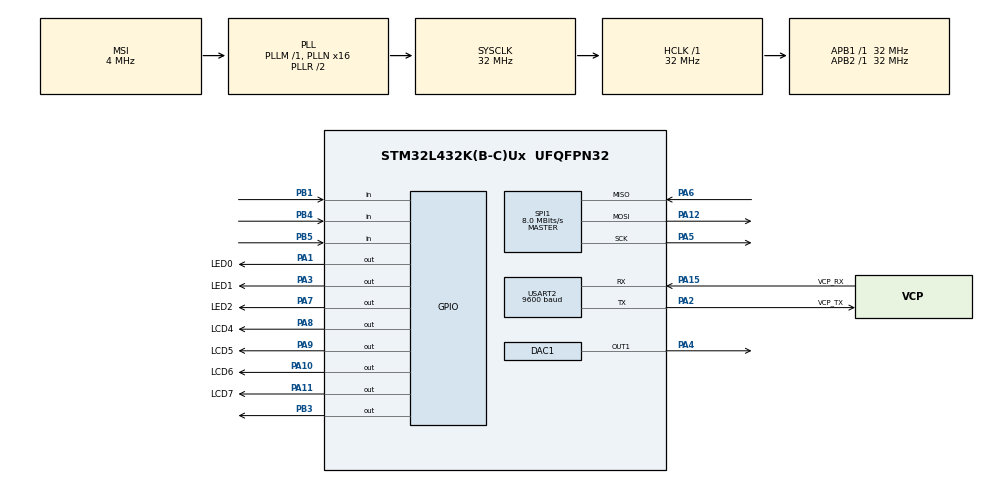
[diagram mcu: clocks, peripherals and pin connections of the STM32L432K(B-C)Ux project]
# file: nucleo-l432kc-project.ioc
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DAC1.DAC_Trigger-DAC_OUT1=DAC_TRIGGER_NONE
FATFS._MAX_SS=4096
FATFS._USE_LFN=1
Mcu.Family=STM32L4
Mcu.Name=STM32L432K(B-C)Ux
Mcu.Package=UFQFPN32
NVIC.PriorityGroup=NVIC_PRIORITYGROUP_4
NVIC.TIM1_BRK_TIM15_IRQn=true\:0\:0\:false\:false\:true\:true\:true
NVIC.TIM1_CC_IRQn=true\:0\:0\:false\:false\:true\:true\:true
NVIC.TIM1_TRG_COM_IRQn=true\:0\:0\:false\:false\:true\:true\:true
NVIC.TIM1_UP_TIM16_IRQn=true\:0\:0\:false\:false\:true\:true\:true
PA0.GPIO_Label=MCO [High speed clock in]
PA0.Mode=HSE-External-Clock-Source-for-LittleOrca
PA0.Signal=RCC_CK_IN
PA1.GPIO_Label=LED0
PA1.Signal=GPIO_Output
PA10.GPIO_Label=LCD6
PA10.Signal=GPIO_Output
PA11.GPIO_Label=LCD7
PA11.Signal=GPIO_Output
PA12.Mode=Full_Duplex_Master
PA12.Signal=SPI1_MOSI
PA13\ (JTMS-SWDIO).GPIO_Label=SWDIO
PA13\ (JTMS-SWDIO).Mode=Serial_Wire
PA13\ (JTMS-SWDIO).Signal=SYS_JTMS-SWDIO
PA14\ (JTCK-SWCLK).GPIO_Label=SWCLK
PA14\ (JTCK-SWCLK).Mode=Serial_Wire
PA14\ (JTCK-SWCLK).Signal=SYS_JTCK-SWCLK
PA15\ (JTDI).GPIO_Label=VCP_RX
PA15\ (JTDI).Mode=Asynchronous
PA15\ (JTDI).Signal=USART2_RX
PA2.GPIO_Label=VCP_TX
PA2.Mode=Asynchronous
PA2.Signal=USART2_TX
PA3.GPIO_Label=LED1
PA3.Signal=GPIO_Output
PA4.Signal=COMP_DAC11_group
PA5.Mode=Full_Duplex_Master
PA5.Signal=SPI1_SCK
PA6.Mode=Full_Duplex_Master
PA6.Signal=SPI1_MISO
PA7.GPIO_Label=LED2
PA7.Signal=GPIO_Output
PA8.GPIO_Label=LCD4
PA8.Signal=GPIO_Output
PA9.GPIO_Label=LCD5
PA9.Signal=GPIO_Output
PB1.GPIO_PuPd=GPIO_NOPULL
PB1.Signal=GPIO_Input
PB3\ (JTDO-TRACESWO).GPIO_Speed=GPIO_SPEED_FREQ_MEDIUM
PB3\ (JTDO-TRACESWO).PinState=GPIO_PIN_SET
PB3\ (JTDO-TRACESWO).Signal=GPIO_Output
PB4\ (NJTRST).GPIO_PuPd=GPIO_NOPULL
PB4\ (NJTRST).Signal=GPIO_Input
PB5.GPIO_PuPd=GPIO_NOPULL
PB5.Signal=GPIO_Input
PC14-OSC32_IN\ (PC14).Mode=LSE-External-Oscillator
PC14-OSC32_IN\ (PC14).Signal=RCC_OSC32_IN
PC15-OSC32_OUT\ (PC15).Mode=LSE-External-Oscillator
PC15-OSC32_OUT\ (PC15).Signal=RCC_OSC32_OUT
ProjectManager.HeapSize=0x200
ProjectManager.StackSize=0x400
ProjectManager.TargetToolchain=STM32CubeIDE
RCC.ADCFreq_Value=16000000
RCC.AHBFreq_Value=32000000
RCC.APB1Freq_Value=32000000
RCC.APB1TimFreq_Value=32000000
RCC.APB2Freq_Value=32000000
RCC.APB2TimFreq_Value=32000000
RCC.CortexFreq_Value=32000000
RCC.HCLKFreq_Value=32000000
RCC.HSE_VALUE=8000000
RCC.HSI16_VALUE=16000000
RCC.HSI48_VALUE=48000000
RCC.HSI_VALUE=16000000
RCC.MSI_VALUE=4000000
RCC.PLLMUL=RCC_PLLMUL_4
RCC.PLLN=16
RCC.SYSCLKFreq_VALUE=32000000
RCC.SYSCLKSource=RCC_SYSCLKSOURCE_PLLCLK
RCC.USBFreq_Value=16000000
RCC.VCOOutputFreq_Value=64000000
SH.COMP_DAC11_group.0=DAC1_OUT1,DAC_OUT1
SPI1.BaudRatePrescaler=SPI_BAUDRATEPRESCALER_4
SPI1.CalculateBaudRate=8.0 MBits/s
SPI1.DataSize=SPI_DATASIZE_8BIT
SPI1.Direction=SPI_DIRECTION_2LINES
SPI1.Mode=SPI_MODE_MASTER
SPI1.VirtualType=VM_MASTER
TIM1.Period=4999
TIM1.Prescaler=31999
TIM16.Prescaler=31
TIM2.Period=65535
TIM2.TIM_MasterOutputTrigger=TIM_TRGO_UPDATE
USART2.BaudRate=9600
USART2.VirtualMode-Asynchronous=VM_ASYNC
VP_FATFS_VS_Generic.Mode=User_defined
VP_TIM16_VS_ClockSourceINT.Mode=Enable_Timer
VP_TIM1_VS_ClockSourceINT.Mode=Internal
VP_TIM2_VS_ClockSourceINT.Mode=Internal
board=NUCLEO-L432KC

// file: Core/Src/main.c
/* USER CODE BEGIN Header */
/**
  ******************************************************************************
  * @file           : main.c
  * @brief          : Main program body
  ******************************************************************************
  * @attention
  *
  * Copyright (c) 2022 STMicroelectronics.
  * All rights reserved.
  *
  * This software is licensed under terms that can be found in the LICENSE file
  * in the root directory of this software component.
  * If no LICENSE file comes with this software, it is provided AS-IS.
  *
  ******************************************************************************
  */
/* USER CODE END Header */
#include "main.h"
#include "fatfs.h"

/* USER CODE BEGIN Includes */
#include <stdio.h>
#include <stdlib.h>
#include <string.h>

#include "BTT.h"
#include "fatfs_sd.h"
#include "waveheader.h"
#include "lcd.h"
/* USER CODE END Includes */

/* USER CODE BEGIN PTD */
typedef void (*funcP)(uint8_t channels, uint16_t numSamples, void *pIn, uint16_t *pOutput);
/* USER CODE END PTD */

/* USER CODE BEGIN PD */
#define BUFSIZE 512
#define AUDIO_BUFFER_SIZE 512
#define MIN(a,b) (((a)<(b))? (a):(b))
/* USER CODE END PD */

DAC_HandleTypeDef hdac1;

SPI_HandleTypeDef hspi1;

TIM_HandleTypeDef htim1;
TIM_HandleTypeDef htim2;
TIM_HandleTypeDef htim16;

UART_HandleTypeDef huart2;

/* USER CODE BEGIN PV */
FATFS fs;
FATFS *pfs;
FIL fil;
FRESULT fres;
DWORD fre_clust;
uint32_t totalSpace, freeSpace;
char buffer[100];
char fileNames [20][20] = {0};
int allFilesCount = 0;

static uint8_t fileBuffer[BUFSIZE];
static uint8_t dmaBuffer[2][BUFSIZE];
static uint8_t dmaBank = 0;

/* USER CODE END PV */

void SystemClock_Config(void);
static void MX_GPIO_Init(void);
static void MX_USART2_UART_Init(void);
static void MX_TIM16_Init(void);
static void MX_TIM1_Init(void);
static void MX_SPI1_Init(void);
static void MX_DAC1_Init(void);
static void MX_TIM2_Init(void);
/* USER CODE BEGIN PFP */
void training ();
void beat_detected_callback (void* SELF, unsigned long long sample_time);
void transmit_uart (char * msg){
	uint8_t len = strlen(msg);
	HAL_UART_Transmit (&huart2, (uint8_t*) msg, len, 200);
}
void listDirectory (){

	DIR dir;
    char *path;
    UINT BytesWritten;
    char string[20];
    FRESULT res;

    path = ""; // where you want to list

    res = f_opendir(&dir, path);

//    if (res != FR_OK)
//      printf("res = %d f_opendir\n", res);

    if (res == FR_OK)
    {
      while(1)
      {
        FILINFO fno;

        res = f_readdir(&dir, &fno);

//        if (res != FR_OK)
//          printf("res = %d f_readdir\n", res);

        if ((res != FR_OK) || (fno.fname[0] == 0))
          break;

        int size = strlen(fno.fname);
        sprintf(string, "%s\r\n", fno.fname);
                	transmit_uart(string);
        if (fno.fname[size-3] == 'w' && fno.fname[size-2] == 'a' && fno.fname[size-1] == 'v' && fno.fname[0] != '.'){
//        	sprintf(string, "%s\r\n", fno.fname);
//        	transmit_uart(string);
        	if (allFilesCount<20){
				strcpy(fileNames[allFilesCount],string);
				allFilesCount++;
        	}
        }
      }
    }
}
static void
setSampleRate(uint16_t freq)
{
  uint16_t period = (80000000 / freq) - 1;

  htim2.Instance = TIM2;
  htim2.Init.Prescaler = 0;
  htim2.Init.CounterMode = TIM_COUNTERMODE_UP;
  htim2.Init.Period = period;
  htim2.Init.ClockDivision = TIM_CLOCKDIVISION_DIV1;
  htim2.Init.AutoReloadPreload = TIM_AUTORELOAD_PRELOAD_DISABLE;
  HAL_TIM_Base_Init(&htim2);
}

static inline uint16_t
val2Dac8(int32_t v)
{
  uint16_t out = v << 3;
  return out;
}

static inline uint16_t
val2Dac16(int32_t v)
{
  v >>= 4;
  v += 2047;
  return v & 0xfff;
}

static void
prepareDACBuffer_8Bit(uint8_t channels, uint16_t numSamples, void *pIn, uint16_t *pOutput)
{
  uint8_t *pInput = (uint8_t *)pIn;

  for (int i=0; i<numSamples; i++) {
    int32_t val = 0;

    for(int j=0; j<channels; j++) {
      val += *pInput++;
    }
    val /= channels;
    *pOutput++ = val2Dac8(val);
  }
}

static void
prepareDACBuffer_16Bit(uint8_t channels, uint16_t numSamples, void *pIn, uint16_t *pOutput)
{
  int16_t *pInput = (int16_t *)pIn;

  for (int i=0; i<numSamples; i++) {
    int32_t val = 0;

    for(int j=0; j<channels; j++) {
      val += *pInput++;
    }
    val /= channels;
    *pOutput++ = val2Dac16(val);
  }
}

static uint8_t
isSupprtedWavFile(const struct Wav_Header *header)
{
  if (strncmp(header->riff, "RIFF", 4 ) != 0)
    return 0;

  if (header->vfmt != 1)
    return 0;

  if (strncmp(header->dataChunkHeader, "data", 4 ) != 0)
    return 0;

  return 1;
}
/* USER CODE END PFP */

/* USER CODE BEGIN 0 */
volatile uint16_t timer_end;
uint16_t timer_val;
uint16_t time_diff;
uint16_t time_diff_arr[50];
int rand_num;
int flag;
int state = 1;
int detected = 0;
int counter = 0;
char buff [100] = {0};
/* USER CODE END 0 */

int main(void)
{

  /* MCU Configuration--------------------------------------------------------*/

  /* Reset of all peripherals, Initializes the Flash interface and the Systick. */
  HAL_Init();

  /* Configure the system clock */
  SystemClock_Config();

  /* Initialize all configured peripherals */
  MX_GPIO_Init();
  MX_USART2_UART_Init();
  MX_TIM16_Init();
  MX_TIM1_Init();
  MX_SPI1_Init();
  MX_DAC1_Init();
  MX_FATFS_Init();
  MX_TIM2_Init();
  /* USER CODE BEGIN 2 */

  // SETUP LCD
//   // Lcd_PortType ports[] = { D4_GPIO_Port, D5_GPIO_Port, D6_GPIO_Port, D7_GPIO_Port };
//   Lcd_PortType ports[] = { GPIOA, GPIOA, GPIOA, GPIOA };
//   // Lcd_PinType pins[] = {D4_Pin, D5_Pin, D6_Pin, D7_Pin};
//   Lcd_PinType pins[] = {LCD4_Pin, LCD5_Pin, LCD6_Pin, LCD7_Pin};
//   Lcd_HandleTypeDef lcd;
//
//   // Lcd_create(ports, pins, RS_GPIO_Port, RS_Pin, EN_GPIO_Port, EN_Pin, LCD_4_BIT_MODE);
//   lcd = Lcd_create(ports, pins, LCDRS_GPIO_Port, LCDRS_Pin, LCDE_GPIO_Port, LCDE_Pin, LCD_4_BIT_MODE);
//   Lcd_cursor(&lcd, 0,1);
//   Lcd_string(&lcd, "Welcome");

  HAL_Delay(500);

  fres = f_mount(&fs, "", 1);
   if (fres == FR_OK){
	   transmit_uart("Micro SD card is mounted successfully!\r\n");
   } else if (fres != FR_OK){
	   transmit_uart("Error Micro SD card mount\r\n");
   }

   listDirectory();

   transmit_uart(fileNames[0]);
//   transmit_uart(fileNames[1]);
//   transmit_uart(fileNames[2]);
//   f_opendir(dp, "/")
//f_readdir(dp, fno)
// https://community.st.com/s/question/0D53W00000wzjSmSAI/fatfs-show-all-files
//f_opendir(dp, path)
//f_open(fp, path, mode)

     // WAV Player
     HAL_TIM_Base_Start(&htim2);

  HAL_TIM_Base_Start(&htim16);
  /* USER CODE END 2 */

  /* Infinite loop */
  /* USER CODE BEGIN WHILE */
  int sum = 0;
  int average = 0;
  int once = 1;
  int count = 0;

//   Lcd_cursor(&lcd, 1,1);
//   Lcd_string(&lcd, "Let's Begin");
//
//   HAL_Delay(2000);
//
//   Lcd_cursor(&lcd, 0,1);
//   Lcd_string(&lcd, "Song name here");
//
//   Lcd_cursor(&lcd, 1,0);
//   Lcd_string(&lcd, "Btn2: play / Btn1: next");

  HAL_Delay(5000);
  uint16_t end_time, start_time = __HAL_TIM_GET_COUNTER(&htim16);

  //till now, you have all file names on mounted sd card stored in fileNames and their count in allFilesCount
  //	  /*
  //	   * TASK1 1. Read from music file
  //	   * TASK1 2. Start beat analysis (callback releases binary semaph for training)
  //	   * TASK1 3. Play music file
  //	   * TASK1 4. Training (light LED and check button pressed and calculate metrics accordingly)
  //	   */
  while (1)
  {
	  //make user choose a file from the list of files on sd card
	   int counterFiles = 0;
//	   while(1){
//
//		   // Show on LCD the file -> fileNames[counterFiles]
////		   Lcd_cursor(&lcd, 0,0);
////		   Lcd_int(&lcd, counterFiles);
////
////		   Lcd_cursor(&lcd, 0,2);
////		   Lcd_string(&lcd, fileNames[counterFiles]);
//
//		   if(HAL_GPIO_ReadPin(GPIOB, GPIO_PIN_4) == 1){
//			   break; //valid choice of song (read it and process it) -> counterFiles has the song index
//			}
//			else if (HAL_GPIO_ReadPin(GPIOB, GPIO_PIN_1) == 1){
//				counterFiles++;
//			}
//		   counterFiles = counterFiles%allFilesCount;
//	   }

	   //open file and read header
	   fres = f_open(&fil, fileNames[counterFiles], FA_READ);
	   if (fres == FR_OK){
		   transmit_uart("File opened\r\n");
	   } else if (fres != FR_OK){
		   break;
	   }

	   //pre-process the file and load beats using BTT
	   int* beats ;
	   beats = (int *)calloc (300 , sizeof(int) );

	   size_t bytesRead = 0;
	   dft_sample_t* bufferf = calloc(AUDIO_BUFFER_SIZE/8, sizeof(*bufferf));
	   char buffb [512] = {0};

	   BTT* btt = btt_new_default();
	   btt_set_beat_tracking_callback   (btt, beat_detected_callback , NULL);

	   char debug [100] = {0};
	   // read up to sizeof(buffer) bytes
	   while ((f_read(&fil, buffb, AUDIO_BUFFER_SIZE, &bytesRead)) != FR_OK){
		   if (bytesRead > 0){
		     count++;
		     for(int i=0; i<AUDIO_BUFFER_SIZE/8; i++)
			 {
			   memcpy (&bufferf[i], buffb+(i*8), sizeof (float));
//			   sprintf(debug, "%f\r\n", bufferf[i]);
//			   transmit_uart(debug);
			   bufferf[i] = bufferf[i] / (long double)0x7FFFFFFF;
			 }
		     btt_process(btt, bufferf, AUDIO_BUFFER_SIZE/8);
		     beats[detected] = count;
		   }
		   else {
			   break;
		   }
	   }

	   //read header
       struct Wav_Header header;
       int countHeader = 0;
       //rewind file pointer to the start of the file
	   fres = f_lseek(&fil, 0);
	   fres = f_read(&fil, &header, sizeof(struct Wav_Header), &countHeader);

	   if (fres != FR_OK)
	   {
		  //error reading header
		  transmit_uart("Error reading header\r\n");
		  break;
	   }
	   if (!isSupprtedWavFile(&header))
	   {
		   //error unsupported file
           transmit_uart("Error unsupported file\r\n");
           break;
	   }

	   //set sample rate
	   setSampleRate(header.sampleFreq);
	   const uint8_t channels = header.channels;
	   const uint8_t bytesPerSample = header.bitsPerSample / 8;

       funcP prepareData = (header.bitsPerSample == 8)? prepareDACBuffer_8Bit : prepareDACBuffer_16Bit;
       uint32_t bytes_last = header.dataChunkLength;

       //////////////////////////////BEAT

       int index = 0;
	   int beats_index = 0;
	   int beat = beats[0];

	   transmit_uart("Beginning playing song\r\n");

	   HAL_DAC_Start(&hdac1, DAC_CHANNEL_1);

	   while(0 < bytes_last) {

		   int blksize = (header.bitsPerSample == 8)? MIN(bytes_last, BUFSIZE / 2) : MIN(bytes_last, BUFSIZE);

		   UINT bytes_read;
		   FRESULT res;

		   res = f_read(&fil, fileBuffer, blksize, &bytes_read);
		   if (res != FR_OK || bytes_read == 0)
			   break;

		   uint16_t numSamples = bytes_read / bytesPerSample / channels;
		   int16_t     *pInput = (int16_t *)fileBuffer;
		   uint16_t   *pOutput = (uint16_t *)dmaBuffer[dmaBank];

		   prepareData(channels, numSamples, pInput, pOutput);

//		   HAL_DAC_Start_DMA(&hdac1, DAC_CHANNEL_1, (uint32_t*)dmaBuffer[dmaBank], numSamples, DAC_ALIGN_12B_R);
//		   for (int j=0; j<numSamples; j++){
//			   HAL_DAC_SetValue(&hdac1, DAC_CHANNEL_1, DAC_ALIGN_12B_R, *dmaBuffer[j]);
//			   HAL_Delay(0.001);
//		   }
//		   HAL_DAC_SetValue(&hdac1, DAC_CHANNEL_1, DAC_ALIGN_12B_R, *dmaBuffer[dmaBank]);
//		   DAC1->DHR12R1 = *dmaBuffer[dmaBank];
		   if (beat == index ){
			   //get rand(), pick a random LED
//			   training();
			   beats_index++;
			   beats_index = beats_index % 300;
			   beat = beats[beats_index];
		   }
//		   dmaBank = !dmaBank;
		   bytes_last -= blksize;
		   index++;
	   }
	   transmit_uart("Done\r\n");

    /* USER CODE END WHILE */

    /* USER CODE BEGIN 3 */

//	  fres = f_close(&fil);
//	  if (fres == FR_OK){
//		   transmit_uart("File closed\r\n");
//	  } else if (fres != FR_OK){
//		   transmit_uart("Error closing file\r\n");
//	  }

  }
  /* USER CODE END 3 */
}

void SystemClock_Config(void)
{
  RCC_OscInitTypeDef RCC_OscInitStruct = {0};
  RCC_ClkInitTypeDef RCC_ClkInitStruct = {0};

  /** Configure the main internal regulator output voltage
  */
  if (HAL_PWREx_ControlVoltageScaling(PWR_REGULATOR_VOLTAGE_SCALE1) != HAL_OK)
  {
    Error_Handler();
  }
  /** Configure LSE Drive Capability
  */
  HAL_PWR_EnableBkUpAccess();
  __HAL_RCC_LSEDRIVE_CONFIG(RCC_LSEDRIVE_LOW);
  /** Initializes the RCC Oscillators according to the specified parameters
  * in the RCC_OscInitTypeDef structure.
  */
  RCC_OscInitStruct.OscillatorType = RCC_OSCILLATORTYPE_LSE|RCC_OSCILLATORTYPE_MSI;
  RCC_OscInitStruct.LSEState = RCC_LSE_ON;
  RCC_OscInitStruct.MSIState = RCC_MSI_ON;
  RCC_OscInitStruct.MSICalibrationValue = 0;
  RCC_OscInitStruct.MSIClockRange = RCC_MSIRANGE_6;
  RCC_OscInitStruct.PLL.PLLState = RCC_PLL_ON;
  RCC_OscInitStruct.PLL.PLLSource = RCC_PLLSOURCE_MSI;
  RCC_OscInitStruct.PLL.PLLM = 1;
  RCC_OscInitStruct.PLL.PLLN = 16;
  RCC_OscInitStruct.PLL.PLLP = RCC_PLLP_DIV7;
  RCC_OscInitStruct.PLL.PLLQ = RCC_PLLQ_DIV2;
  RCC_OscInitStruct.PLL.PLLR = RCC_PLLR_DIV2;
  if (HAL_RCC_OscConfig(&RCC_OscInitStruct) != HAL_OK)
  {
    Error_Handler();
  }
  /** Initializes the CPU, AHB and APB buses clocks
  */
  RCC_ClkInitStruct.ClockType = RCC_CLOCKTYPE_HCLK|RCC_CLOCKTYPE_SYSCLK
                              |RCC_CLOCKTYPE_PCLK1|RCC_CLOCKTYPE_PCLK2;
  RCC_ClkInitStruct.SYSCLKSource = RCC_SYSCLKSOURCE_PLLCLK;
  RCC_ClkInitStruct.AHBCLKDivider = RCC_SYSCLK_DIV1;
  RCC_ClkInitStruct.APB1CLKDivider = RCC_HCLK_DIV1;
  RCC_ClkInitStruct.APB2CLKDivider = RCC_HCLK_DIV1;

  if (HAL_RCC_ClockConfig(&RCC_ClkInitStruct, FLASH_LATENCY_1) != HAL_OK)
  {
    Error_Handler();
  }
  /** Enable MSI Auto calibration
  */
  HAL_RCCEx_EnableMSIPLLMode();
}

static void MX_DAC1_Init(void)
{

  DAC_ChannelConfTypeDef sConfig = {0};

  /** DAC Initialization
  */
  hdac1.Instance = DAC1;
  if (HAL_DAC_Init(&hdac1) != HAL_OK)
  {
    Error_Handler();
  }
  /** DAC channel OUT1 config
  */
  sConfig.DAC_SampleAndHold = DAC_SAMPLEANDHOLD_DISABLE;
  sConfig.DAC_Trigger = DAC_TRIGGER_NONE;
  sConfig.DAC_OutputBuffer = DAC_OUTPUTBUFFER_ENABLE;
  sConfig.DAC_ConnectOnChipPeripheral = DAC_CHIPCONNECT_DISABLE;
  sConfig.DAC_UserTrimming = DAC_TRIMMING_FACTORY;
  if (HAL_DAC_ConfigChannel(&hdac1, &sConfig, DAC_CHANNEL_1) != HAL_OK)
  {
    Error_Handler();
  }

}

static void MX_SPI1_Init(void)
{

  /* SPI1 parameter configuration*/
  hspi1.Instance = SPI1;
  hspi1.Init.Mode = SPI_MODE_MASTER;
  hspi1.Init.Direction = SPI_DIRECTION_2LINES;
  hspi1.Init.DataSize = SPI_DATASIZE_8BIT;
  hspi1.Init.CLKPolarity = SPI_POLARITY_LOW;
  hspi1.Init.CLKPhase = SPI_PHASE_1EDGE;
  hspi1.Init.NSS = SPI_NSS_SOFT;
  hspi1.Init.BaudRatePrescaler = SPI_BAUDRATEPRESCALER_4;
  hspi1.Init.FirstBit = SPI_FIRSTBIT_MSB;
  hspi1.Init.TIMode = SPI_TIMODE_DISABLE;
  hspi1.Init.CRCCalculation = SPI_CRCCALCULATION_DISABLE;
  hspi1.Init.CRCPolynomial = 7;
  hspi1.Init.CRCLength = SPI_CRC_LENGTH_DATASIZE;
  hspi1.Init.NSSPMode = SPI_NSS_PULSE_ENABLE;
  if (HAL_SPI_Init(&hspi1) != HAL_OK)
  {
    Error_Handler();
  }

}

static void MX_TIM1_Init(void)
{

  TIM_ClockConfigTypeDef sClockSourceConfig = {0};
  TIM_MasterConfigTypeDef sMasterConfig = {0};

  htim1.Instance = TIM1;
  htim1.Init.Prescaler = 31999;
  htim1.Init.CounterMode = TIM_COUNTERMODE_UP;
  htim1.Init.Period = 4999;
  htim1.Init.ClockDivision = TIM_CLOCKDIVISION_DIV1;
  htim1.Init.RepetitionCounter = 0;
  htim1.Init.AutoReloadPreload = TIM_AUTORELOAD_PRELOAD_DISABLE;
  if (HAL_TIM_Base_Init(&htim1) != HAL_OK)
  {
    Error_Handler();
  }
  sClockSourceConfig.ClockSource = TIM_CLOCKSOURCE_INTERNAL;
  if (HAL_TIM_ConfigClockSource(&htim1, &sClockSourceConfig) != HAL_OK)
  {
    Error_Handler();
  }
  sMasterConfig.MasterOutputTrigger = TIM_TRGO_RESET;
  sMasterConfig.MasterOutputTrigger2 = TIM_TRGO2_RESET;
  sMasterConfig.MasterSlaveMode = TIM_MASTERSLAVEMODE_DISABLE;
  if (HAL_TIMEx_MasterConfigSynchronization(&htim1, &sMasterConfig) != HAL_OK)
  {
    Error_Handler();
  }

}

static void MX_TIM2_Init(void)
{

  TIM_ClockConfigTypeDef sClockSourceConfig = {0};
  TIM_MasterConfigTypeDef sMasterConfig = {0};

  htim2.Instance = TIM2;
  htim2.Init.Prescaler = 0;
  htim2.Init.CounterMode = TIM_COUNTERMODE_UP;
  htim2.Init.Period = 65535;
  htim2.Init.ClockDivision = TIM_CLOCKDIVISION_DIV1;
  htim2.Init.AutoReloadPreload = TIM_AUTORELOAD_PRELOAD_DISABLE;
  if (HAL_TIM_Base_Init(&htim2) != HAL_OK)
  {
    Error_Handler();
  }
  sClockSourceConfig.ClockSource = TIM_CLOCKSOURCE_INTERNAL;
  if (HAL_TIM_ConfigClockSource(&htim2, &sClockSourceConfig) != HAL_OK)
  {
    Error_Handler();
  }
  sMasterConfig.MasterOutputTrigger = TIM_TRGO_UPDATE;
  sMasterConfig.MasterSlaveMode = TIM_MASTERSLAVEMODE_DISABLE;
  if (HAL_TIMEx_MasterConfigSynchronization(&htim2, &sMasterConfig) != HAL_OK)
  {
    Error_Handler();
  }

}

static void MX_TIM16_Init(void)
{

  htim16.Instance = TIM16;
  htim16.Init.Prescaler = 31;
  htim16.Init.CounterMode = TIM_COUNTERMODE_UP;
  htim16.Init.Period = 65535;
  htim16.Init.ClockDivision = TIM_CLOCKDIVISION_DIV1;
  htim16.Init.RepetitionCounter = 0;
  htim16.Init.AutoReloadPreload = TIM_AUTORELOAD_PRELOAD_DISABLE;
  if (HAL_TIM_Base_Init(&htim16) != HAL_OK)
  {
    Error_Handler();
  }

}

static void MX_USART2_UART_Init(void)
{

  huart2.Instance = USART2;
  huart2.Init.BaudRate = 9600;
  huart2.Init.WordLength = UART_WORDLENGTH_8B;
  huart2.Init.StopBits = UART_STOPBITS_1;
  huart2.Init.Parity = UART_PARITY_NONE;
  huart2.Init.Mode = UART_MODE_TX_RX;
  huart2.Init.HwFlowCtl = UART_HWCONTROL_NONE;
  huart2.Init.OverSampling = UART_OVERSAMPLING_16;
  huart2.Init.OneBitSampling = UART_ONE_BIT_SAMPLE_DISABLE;
  huart2.AdvancedInit.AdvFeatureInit = UART_ADVFEATURE_NO_INIT;
  if (HAL_UART_Init(&huart2) != HAL_OK)
  {
    Error_Handler();
  }

}

static void MX_GPIO_Init(void)
{
  GPIO_InitTypeDef GPIO_InitStruct = {0};

  /* GPIO Ports Clock Enable */
  __HAL_RCC_GPIOC_CLK_ENABLE();
  __HAL_RCC_GPIOA_CLK_ENABLE();
  __HAL_RCC_GPIOB_CLK_ENABLE();

  /*Configure GPIO pin Output Level */
  HAL_GPIO_WritePin(GPIOA, LED0_Pin|LED1_Pin|LED2_Pin|LCD4_Pin
                          |LCD5_Pin|LCD6_Pin|LCD7_Pin, GPIO_PIN_RESET);

  /*Configure GPIO pin Output Level */
  HAL_GPIO_WritePin(GPIOB, GPIO_PIN_3, GPIO_PIN_SET);

  /*Configure GPIO pins : LED0_Pin LED1_Pin LED2_Pin LCD4_Pin
                           LCD5_Pin LCD6_Pin LCD7_Pin */
  GPIO_InitStruct.Pin = LED0_Pin|LED1_Pin|LED2_Pin|LCD4_Pin
                          |LCD5_Pin|LCD6_Pin|LCD7_Pin;
  GPIO_InitStruct.Mode = GPIO_MODE_OUTPUT_PP;
  GPIO_InitStruct.Pull = GPIO_NOPULL;
  GPIO_InitStruct.Speed = GPIO_SPEED_FREQ_LOW;
  HAL_GPIO_Init(GPIOA, &GPIO_InitStruct);

  /*Configure GPIO pins : PB1 PB4 PB5 */
  GPIO_InitStruct.Pin = GPIO_PIN_1|GPIO_PIN_4|GPIO_PIN_5;
  GPIO_InitStruct.Mode = GPIO_MODE_INPUT;
  GPIO_InitStruct.Pull = GPIO_NOPULL;
  HAL_GPIO_Init(GPIOB, &GPIO_InitStruct);

  /*Configure GPIO pin : PB3 */
  GPIO_InitStruct.Pin = GPIO_PIN_3;
  GPIO_InitStruct.Mode = GPIO_MODE_OUTPUT_PP;
  GPIO_InitStruct.Pull = GPIO_NOPULL;
  GPIO_InitStruct.Speed = GPIO_SPEED_FREQ_MEDIUM;
  HAL_GPIO_Init(GPIOB, &GPIO_InitStruct);

}

/* USER CODE BEGIN 4 */
void training (){
	 flag = 0;
	 if (counter < 50 ){
		 rand_num = rand()%3;
		 __HAL_TIM_SET_COUNTER(&htim16, 0);
		 timer_val = __HAL_TIM_GET_COUNTER(&htim16);
		 if (rand_num == 0)
			  HAL_GPIO_WritePin(GPIOA, LED0_Pin, 1);
		 else if (rand_num == 1)
			  HAL_GPIO_WritePin(GPIOA, LED1_Pin,1);
		 else if (rand_num == 2)
			  HAL_GPIO_WritePin(GPIOA, LED2_Pin, 1);

	  state = 1;
	  flag = 0;
	  HAL_TIM_Base_Start_IT(&htim1);
	  while (state == 1){
		if (rand_num == 0 && HAL_GPIO_ReadPin(GPIOB, GPIO_PIN_1) == 1){
			HAL_GPIO_WritePin(GPIOA, LED0_Pin, 0);
			timer_end = __HAL_TIM_GET_COUNTER(&htim16);
			state = 0;
			flag = 1;
			HAL_TIM_Base_Stop_IT(&htim1);
			__HAL_TIM_SET_COUNTER(&htim1, 0);
		}
		else if (rand_num == 1 && HAL_GPIO_ReadPin(GPIOB, GPIO_PIN_4) == 1){
			HAL_GPIO_WritePin(GPIOA, LED1_Pin,0);
			timer_end = __HAL_TIM_GET_COUNTER(&htim16);
			state = 0;
			flag = 1;
			HAL_TIM_Base_Stop_IT(&htim1);
			__HAL_TIM_SET_COUNTER(&htim1, 0);
		}
		else if (rand_num == 2 && HAL_GPIO_ReadPin(GPIOB, GPIO_PIN_5) == 1){
			HAL_GPIO_WritePin(GPIOA, LED2_Pin, 0);
			timer_end = __HAL_TIM_GET_COUNTER(&htim16);
			state = 0;
			flag = 1;
			HAL_TIM_Base_Stop_IT(&htim1);
			__HAL_TIM_SET_COUNTER(&htim1, 0);
		}
	  }
	  HAL_TIM_Base_Stop_IT(&htim1);

	  HAL_GPIO_WritePin(GPIOA, LED0_Pin, 0);
	  HAL_GPIO_WritePin(GPIOA, LED1_Pin, 0);
	  HAL_GPIO_WritePin(GPIOA, LED2_Pin, 0);

	  if (flag == 0) {
		  timer_end = __HAL_TIM_GET_COUNTER(&htim16);
		  time_diff  = timer_end - timer_val;
	  }
	  else {
		  time_diff  = timer_end - timer_val;
	  }

	  time_diff_arr[counter] = time_diff;
	  counter++;

	  HAL_Delay(1000);

	  sprintf(buff, "%d: %u    \r\n", counter, time_diff);
	  HAL_UART_Transmit(&huart2, (uint8_t*) buff, sizeof(buff), 100);
	 }
}
void HAL_TIM_PeriodElapsedCallback (TIM_HandleTypeDef *htim){

	if (htim == &htim1){
		HAL_TIM_Base_Stop_IT(&htim1);
		state = 0;
	}
}
/*--------------------------------------------------------------------*/
void beat_detected_callback (void* SELF, unsigned long long sample_time)
{

  detected++;
//    printf(" count : %d , detected: %d \n", count , detected );

  /*MKAiff* beat_aiff = (MKAiff*) SELF;
  aiffSetPlayheadToSamples     (beat_aiff, sample_time);
  float click = 1;
  aiffAddFloatingPointSamplesAtPlayhead(beat_aiff, &click, 1, aiffFloatSampleType, aiffYes);*/
}
/* USER CODE END 4 */

void Error_Handler(void)
{
  __disable_irq();
  while (1)
  {
  }
}
